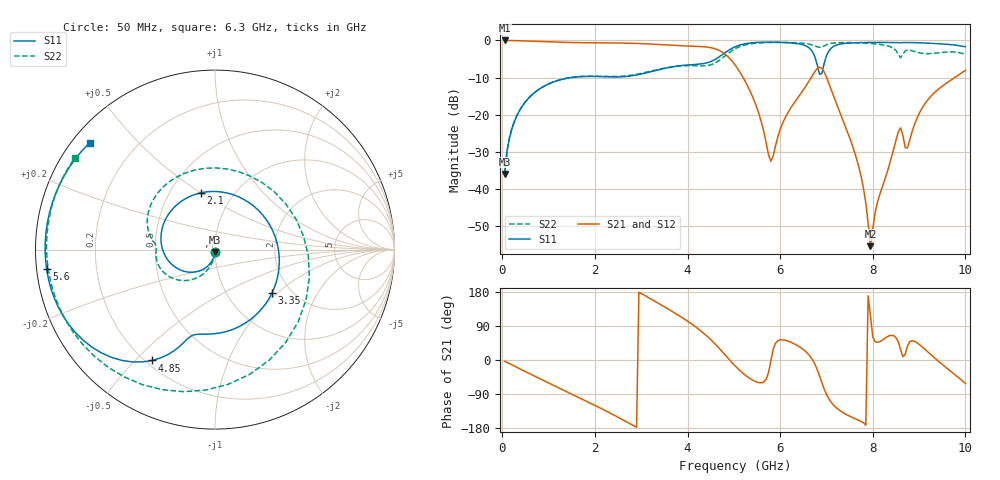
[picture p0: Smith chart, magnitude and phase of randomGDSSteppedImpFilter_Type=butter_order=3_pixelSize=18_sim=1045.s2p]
! freq	dB(S11)	phase(S11)	dB(S12)	phase(S12)
!  dB(S21)	phase(S21)	dB(S22)	phase(S22)
!S-par simulation data
#  GHz  S  DB  R 50
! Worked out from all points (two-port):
!   200 points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, 50 MHz to 10 GHz, reference 50 ohm
!   highest |S21| = -0.01 dB at 50 MHz (marker M1); lowest = -55.4 dB at 7.95 GHz (marker M2)
!   |S21| within 3 dB of the highest: start of sweep to 4.729 GHz
!   lowest |S11| = -35.9 dB at 50 MHz (marker M3), VSWR 1.03, Z = 49.9 - j1.59 ohm
!   |S11| at or under -10 dB: start of sweep to 1.488 GHz
!   |S22| runs from -35.9 to -0.5 dB; largest |S21 - S12| = 0
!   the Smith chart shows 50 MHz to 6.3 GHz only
!   S11 on the Smith chart (normalised r, x): 50 MHz: 1.00, -0.03; 2.1 GHz: 0.71, +0.50; 3.35 GHz: 1.60, -0.93; 4.85 GHz: 0.22, -0.56; 5.6 GHz: 0.03, -0.06; 6.3 GHz: 0.05, +0.37
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0.05  -35.94 -91.1  -0.01 -3.1  -0.01 -3.1  -35.92 -90.0
0.5  -16.53 -126.7  -0.14 -30.7  -0.14 -30.7  -16.51 -115.6
1.75  -9.71 137.2  -0.62 -104.6  -0.62 -104.6  -9.66 -167.4
2.1  -9.73 104.2  -0.65 -125.7  -0.65 -125.7  -9.64 -176.6
3.35  -7.97 -37.5  -1.09 151.1  -1.09 151.1  -7.86 158.8
3.4  -7.81 -42.4  -1.13 147.6  -1.13 147.6  -7.72 156.7
4.3  -6.31 -102.4  -1.66 75.6  -1.66 75.6  -6.86 73.5
4.85  -2.97 -119.6  -4.12 8.0  -4.12 8.0  -3.75 -52.7
5.05  -1.60 -133.7  -7.01 -18.4  -7.01 -18.4  -2.11 -93.8
5.6  -0.50 -173.5  -22.23 -60.2  -22.23 -60.2  -0.63 -164.2
5.8  -0.48 173.8  -32.53 -2.0  -32.53 -2.0  -0.55 179.5
6.3  -0.75 139.5  -16.86 43.0  -16.86 43.0  -0.60 146.7
6.7  -3.08 80.9  -9.36 0.2  -9.36 0.2  -1.25 123.7
6.85  -9.10 -11.2  -7.22 -41.8  -7.22 -41.8  -1.86 120.2
6.95  -6.23 -117.9  -8.47 -76.5  -8.47 -76.5  -1.48 119.3
7.2  -1.33 165.0  -16.49 -124.6  -16.49 -124.6  -0.65 104.6
7.7  -0.60 121.9  -34.08 -159.2  -34.08 -159.2  -0.65 71.7
7.95  -0.55 108.0  -55.36 116.8  -55.36 116.8  -0.82 52.5
8.35  -0.55 88.3  -33.83 63.7  -33.83 63.7  -1.57 10.9
8.9  -0.60 63.0  -22.64 49.4  -22.64 49.4  -2.97 -76.0
9.3  -0.80 44.8  -14.44 9.3  -14.44 9.3  -3.49 -175.7
10  -1.72 13.6  -8.06 -62.0  -8.06 -62.0  -3.83 63.7
